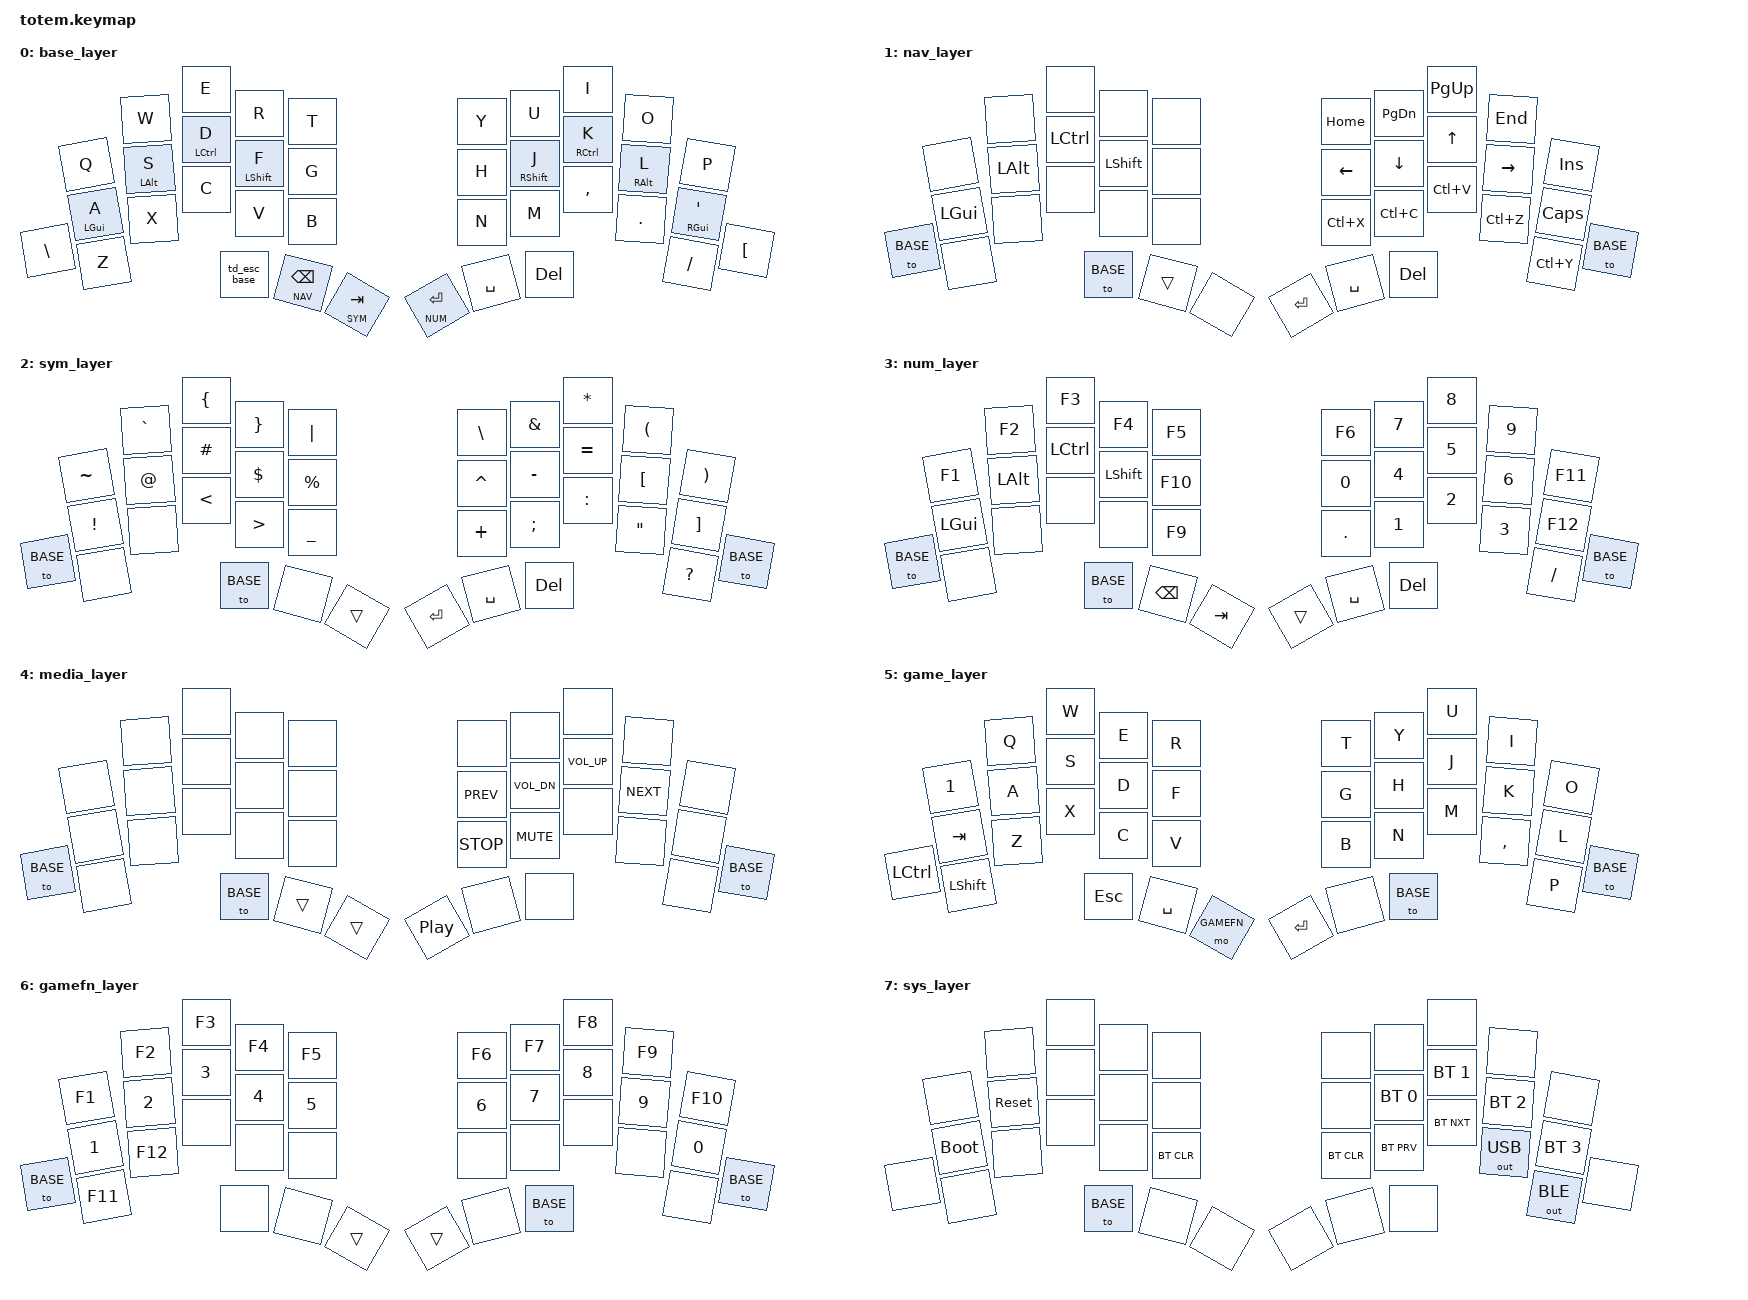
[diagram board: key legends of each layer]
// ╔══════════════════════════════════════════════════════════════════════════╗
// ║          TOTEM 38-KEY KEYMAP — LiquidMonkey Edition                     ║
// ╠══════════════════════════════════════════════════════════════════════════╣
// ║  LAYERS                                                                  ║
// ║  0  BASE    — QWERTY + Home Row Mods                                    ║
// ║  1  NAV     — Navigation + Editing (hold BSP thumb)                     ║
// ║  2  SYM     — Symbols (hold TAB thumb)                                  ║
// ║  3  NUM     — Numbers + F-keys (hold RET thumb)                         ║
// ║  4  MEDIA   — Media / Volume (tri-layer: NAV+SYM)                       ║
// ║  5  GAME    — Gaming base (sticky, WASD, no HRM)                        ║
// ║  6  GAMEFN  — Gaming function keys (momentary from GAME)                ║
// ║  7  SYS     — System / BT / Reset (hard to reach)                       ║
// ╠══════════════════════════════════════════════════════════════════════════╣
// ║  HOME ROW MODS (GACS — GUI, ALT, CTRL, SHIFT)                           ║
// ║  Left  : A=GUI  S=ALT  D=CTRL  F=SHIFT                                  ║
// ║  Right : J=SHIFT  K=CTRL  L=ALT  '=GUI                                  ║
// ╠══════════════════════════════════════════════════════════════════════════╣
// ║  PHYSICAL LAYOUT — 38 keys total                                        ║
// ║                                                                          ║
// ║  Binding order per layer (38 total):                                    ║
// ║    Row 1 (top)   :  10  —  5 left + 5 right                            ║
// ║    Row 2 (home)  :  10  —  5 left + 5 right                            ║
// ║    Row 3 (bottom):  12  —  [PK] 5 left + 5 right [PK]                  ║
// ║    Thumb         :   6  —  3 left + 3 right                             ║
// ║                                                                          ║
// ║  KEY POSITIONS:                                                          ║
// ║   0   1   2   3   4       5   6   7   8   9                             ║
// ║  10  11  12  13  14      15  16  17  18  19                             ║
// ║  20  21  22  23  24  25  26  27  28  29  30  31                         ║
// ║  ^                                           ^                           ║
// ║  extra pinky L                   extra pinky R                          ║
// ║              32  33  34      35  36  37                                  ║
// ║                                                                          ║
// ╠══════════════════════════════════════════════════════════════════════════╣
// ║                                                                          ║
// ║  ╭─────┬─────┬─────┬─────┬─────╮   ╭─────┬─────┬─────┬─────┬─────╮   ║
// ║  │  Q  │  W  │  E  │  R  │  T  │   │  Y  │  U  │  I  │  O  │  P  │   ║
// ║  ├─────┼─────┼─────┼─────┼─────┤   ├─────┼─────┼─────┼─────┼─────┤   ║
// ║  │GUI/A│ALT/S│CTL/D│SFT/F│  G  │   │  H  │SFT/J│CTL/K│ALT/L│GUI/'│   ║
// ║  ├──┬──┼─────┼─────┼─────┼─────┼───┼─────┼─────┼─────┼─────┼──┬──┤   ║
// ║  │PK│  │  Z  │  X  │  C  │  V  │ B │  N  │  M  │  ,  │  .  │  │PK│   ║
// ║  ╰──┴──┴─────┴──┬──┴──┬──┴──┬──╯   ╰──┬──┴──┬──┴──┬──┴─────┴──┴──╯   ║
// ║              │ESC│ BSP │ TAB │         │ENT  │ SPC │DEL│               ║
// ║              │   │(NAV)│(SYM)│         │(NUM)│     │   │               ║
// ║              ╰───┴─────┴─────╯         ╰─────┴─────┴───╯               ║
// ║                                                                          ║
// ╚══════════════════════════════════════════════════════════════════════════╝

#include <behaviors.dtsi>
#include <dt-bindings/zmk/keys.h>
#include <dt-bindings/zmk/bt.h>
#include <dt-bindings/zmk/outputs.h>

// ─── Layer indices ───────────────────────────────────────────────────────────
#define BASE    0
#define NAV     1
#define SYM     2
#define NUM     3
#define MEDIA   4
#define GAME    5
#define GAMEFN  6
#define SYS     7

// ─── Global hold-tap defaults ─────────────────────────────────────────────────
&mt {
    flavor = "balanced";
    tapping-term-ms = <280>;
    quick-tap-ms = <175>;
    require-prior-idle-ms = <150>;
};

&lt {
    flavor = "balanced";
    tapping-term-ms = <280>;
    quick-tap-ms = <175>;
    require-prior-idle-ms = <150>;
};

/ {
    // ─── Custom behaviors ─────────────────────────────────────────────────────

    behaviors {

        // Left-hand HRM — GUI (pinky), longer idle
        hml_gui: hrm_left_gui {
            compatible = "zmk,behavior-hold-tap";
            #binding-cells = <2>;
            flavor = "balanced";
            tapping-term-ms = <300>;
            quick-tap-ms = <175>;
            require-prior-idle-ms = <200>;
            bindings = <&kp>, <&kp>;
            hold-trigger-key-positions = <
                5  6  7  8  9        // right top row
                15 16 17 18 19       // right home row
                26 27 28 29 30 31    // right bottom row + right extra pinky
                35 36 37             // right thumb
            >;
            hold-trigger-on-release;
        };

        // Right-hand HRM — GUI (pinky), longer idle
        hmr_gui: hrm_right_gui {
            compatible = "zmk,behavior-hold-tap";
            #binding-cells = <2>;
            flavor = "balanced";
            tapping-term-ms = <300>;
            quick-tap-ms = <175>;
            require-prior-idle-ms = <200>;
            bindings = <&kp>, <&kp>;
            hold-trigger-key-positions = <
                0  1  2  3  4        // left top row
                10 11 12 13 14       // left home row
                20 21 22 23 24 25    // left bottom row + left extra pinky
                32 33 34             // left thumb
            >;
            hold-trigger-on-release;
        };

        // Left-hand HRM — ALT, CTRL, SHIFT
        hml: hrm_left {
            compatible = "zmk,behavior-hold-tap";
            #binding-cells = <2>;
            flavor = "balanced";
            tapping-term-ms = <280>;
            quick-tap-ms = <175>;
            require-prior-idle-ms = <150>;
            bindings = <&kp>, <&kp>;
            hold-trigger-key-positions = <
                5  6  7  8  9
                15 16 17 18 19
                26 27 28 29 30 31
                35 36 37
            >;
            hold-trigger-on-release;
        };

        // Right-hand HRM — ALT, CTRL, SHIFT
        hmr: hrm_right {
            compatible = "zmk,behavior-hold-tap";
            #binding-cells = <2>;
            flavor = "balanced";
            tapping-term-ms = <280>;
            quick-tap-ms = <175>;
            require-prior-idle-ms = <150>;
            bindings = <&kp>, <&kp>;
            hold-trigger-key-positions = <
                0  1  2  3  4
                10 11 12 13 14
                20 21 22 23 24 25
                32 33 34
            >;
            hold-trigger-on-release;
        };

        // Tap-dance: tap = ESC, double-tap = to BASE
        td_esc_base: tap_dance_esc_base {
            compatible = "zmk,behavior-tap-dance";
            #binding-cells = <0>;
            tapping-term-ms = <200>;
            bindings = <&kp ESC>, <&to BASE>;
        };
    };

    // ─── Tri-layer: NAV + SYM → MEDIA ────────────────────────────────────────
    conditional_layers {
        compatible = "zmk,conditional-layers";
        media_layer {
            if-layers = <NAV SYM>;
            then-layer = <MEDIA>;
        };
    };

    // ─── Combos ───────────────────────────────────────────────────────────────
    // Positions:
    //       0   1   2   3   4       5   6   7   8   9
    //      10  11  12  13  14      15  16  17  18  19
    //  20  21  22  23  24  25      26  27  28  29  30  31
    //              32  33  34      35  36  37

    combos {
        compatible = "zmk,combos";

        // Caps Word — both index home-row keys (F + J)
        combo_caps_word {
            timeout-ms = <50>;
            key-positions = <13 16>;
            bindings = <&caps_word>;
        };

        // Universal BASE escape — both inner thumb keys (TAB + ENT)
        combo_to_base {
            timeout-ms = <60>;
            key-positions = <34 35>;
            bindings = <&to BASE>;
        };

        // Gaming layer toggle — both extra pinky keys (one per hand)
        combo_game_toggle {
            timeout-ms = <60>;
            key-positions = <20 31>;
            bindings = <&tog GAME>;
        };

        // SYS layer — Z + / (bottom row inner pinkies, hold both)
        // Hard to hit accidentally; much harder than a single key
        combo_sys {
            timeout-ms = <50>;
            key-positions = <21 30>;
            bindings = <&mo SYS>;
        };
    };

    keymap {
        compatible = "zmk,keymap";

// ╔══════════════════════════════════════════════════════════════════════════╗
// ║  LAYER 0 — BASE (QWERTY + Home Row Mods)                                ║
// ╠══════════════════════════════════════════════════════════════════════════╣
// ║                                                                          ║
// ║  ╭─────┬─────┬─────┬─────┬─────╮   ╭─────┬─────┬─────┬─────┬─────╮   ║
// ║  │  Q  │  W  │  E  │  R  │  T  │   │  Y  │  U  │  I  │  O  │  P  │   ║
// ║  ├─────┼─────┼─────┼─────┼─────┤   ├─────┼─────┼─────┼─────┼─────┤   ║
// ║  │GUI/A│ALT/S│CTL/D│SFT/F│  G  │   │  H  │SFT/J│CTL/K│ALT/L│GUI/'│   ║
// ║  ├─────┼─────┼─────┼─────┼─────┼───┼─────┼─────┼─────┼─────┼─────┤   ║
// ║  │ \ │  Z  │  X  │  C  │  V  │  B  │  N  │  M  │  ,  │  .  │  /  │ [ │  ║
// ║  ╰─────┴─────┴──┬──┴──┬──┴──┬──╯   ╰──┬──┴──┬──┴──┬──┴─────┴─────╯   ║
// ║              │ESC│ BSP │ TAB │         │ ENT │ SPC │DEL│               ║
// ║              │   │(NAV)│(SYM)│         │(NUM)│     │   │               ║
// ║              ╰───┴─────┴─────╯         ╰─────┴─────┴───╯               ║
// ║                                                                          ║
// ║  Left extra pinky  : \ (backslash — completes symbol set)               ║
// ║  Right extra pinky : [ (left bracket — pairs naturally with ] on SYM)   ║
// ╚══════════════════════════════════════════════════════════════════════════╝

        base_layer {
            bindings = <
                &kp Q            &kp W          &kp E          &kp R          &kp T              &kp Y          &kp U          &kp I          &kp O          &kp P
                &hml_gui LGUI A  &hml LALT S    &hml LCTRL D   &hml LSHFT F   &kp G              &kp H          &hmr RSHFT J   &hmr RCTRL K   &hmr RALT L    &hmr_gui RGUI SQT
   &kp BSLH     &kp Z            &kp X          &kp C          &kp V          &kp B              &kp N          &kp M          &kp COMMA      &kp DOT        &kp FSLH       &kp LBKT
                                                &td_esc_base   &lt NAV BSPC   &lt SYM TAB        &lt NUM RET    &kp SPC        &kp DEL
            >;
        };

// ╔══════════════════════════════════════════════════════════════════════════╗
// ║  LAYER 1 — NAV (Navigation + Editing)                                   ║
// ║  Hold left BSP thumb                                                     ║
// ╠══════════════════════════════════════════════════════════════════════════╣
// ║                                                                          ║
// ║  ╭─────┬─────┬─────┬─────┬─────╮   ╭─────┬─────┬─────┬─────┬─────╮   ║
// ║  │     │     │     │     │     │   │HOME │PGDN │PGUP │ END │ INS │   ║
// ║  ├─────┼─────┼─────┼─────┼─────┤   ├─────┼─────┼─────┼─────┼─────┤   ║
// ║  │ GUI │ ALT │ CTL │ SFT │     │   │  ←  │  ↓  │  ↑  │  →  │CAPS │   ║
// ║  ├─────┼─────┼─────┼─────┼─────┼───┼─────┼─────┼─────┼─────┼─────┤   ║
// ║  │BASE │     │     │     │     │     │ CUT │COPY │PSTE │UNDO │REDO │BASE│  ║
// ║  ╰─────┴─────┴──┬──┴──┬──┴──┬──╯   ╰──┬──┴──┬──┴──┬──┴─────┴─────╯   ║
// ║              │BASE│[hld]│     │         │ ENT │ SPC │DEL│               ║
// ║              ╰───┴─────┴─────╯         ╰─────┴─────┴───╯               ║
// ╚══════════════════════════════════════════════════════════════════════════╝

        nav_layer {
            bindings = <
                &none          &none          &none          &none          &none              &kp HOME       &kp PG_DN      &kp PG_UP      &kp END        &kp INS
                &kp LGUI       &kp LALT       &kp LCTRL      &kp LSHFT      &none              &kp LEFT       &kp DOWN       &kp UP         &kp RIGHT      &kp CAPS
   &to BASE     &none          &none          &none          &none          &none              &kp LC(X)      &kp LC(C)      &kp LC(V)      &kp LC(Z)      &kp LC(Y)      &to BASE
                                              &to BASE       &trans         &none              &kp RET        &kp SPC        &kp DEL
            >;
        };

// ╔══════════════════════════════════════════════════════════════════════════╗
// ║  LAYER 2 — SYM (Symbols)                                                ║
// ║  Hold right TAB thumb                                                    ║
// ╠══════════════════════════════════════════════════════════════════════════╣
// ║                                                                          ║
// ║  ╭─────┬─────┬─────┬─────┬─────╮   ╭─────┬─────┬─────┬─────┬─────╮   ║
// ║  │  ~  │  `  │  {  │  }  │  |  │   │  \  │  &  │  *  │  (  │  )  │   ║
// ║  ├─────┼─────┼─────┼─────┼─────┤   ├─────┼─────┼─────┼─────┼─────┤   ║
// ║  │  !  │  @  │  #  │  $  │  %  │   │  ^  │  -  │  =  │  [  │  ]  │   ║
// ║  ├─────┼─────┼─────┼─────┼─────┼───┼─────┼─────┼─────┼─────┼─────┤   ║
// ║  │BASE │     │     │  <  │  >  │  _  │  +  │  ;  │  :  │  "  │  ?  │BASE│ ║
// ║  ╰─────┴─────┴──┬──┴──┬──┴──┬──╯   ╰──┬──┴──┬──┴──┬──┴─────┴─────╯   ║
// ║              │BASE│     │[hld]│         │ ENT │ SPC │DEL│               ║
// ║              ╰───┴─────┴─────╯         ╰─────┴─────┴───╯               ║
// ╚══════════════════════════════════════════════════════════════════════════╝

        sym_layer {
            bindings = <
                &kp TILDE      &kp GRAVE      &kp LBRC       &kp RBRC       &kp PIPE           &kp BSLH       &kp AMPS       &kp STAR       &kp LPAR       &kp RPAR
                &kp EXCL       &kp AT         &kp HASH       &kp DLLR       &kp PRCNT          &kp CARET      &kp MINUS      &kp EQUAL      &kp LBKT       &kp RBKT
   &to BASE     &none          &none          &kp LT         &kp GT         &kp UNDER          &kp PLUS       &kp SEMI       &kp COLON      &kp DQT        &kp QMARK      &to BASE
                                              &to BASE       &none          &trans             &kp RET        &kp SPC        &kp DEL
            >;
        };

// ╔══════════════════════════════════════════════════════════════════════════╗
// ║  LAYER 3 — NUM (Numbers + F-keys)                                       ║
// ║  Hold right RET thumb                                                    ║
// ╠══════════════════════════════════════════════════════════════════════════╣
// ║                                                                          ║
// ║  ╭─────┬─────┬─────┬─────┬─────╮   ╭─────┬─────┬─────┬─────┬─────╮   ║
// ║  │ F1  │ F2  │ F3  │ F4  │ F5  │   │ F6  │  7  │  8  │  9  │F11  │   ║
// ║  ├─────┼─────┼─────┼─────┼─────┤   ├─────┼─────┼─────┼─────┼─────┤   ║
// ║  │ GUI │ ALT │ CTL │ SFT │F10  │   │  0  │  4  │  5  │  6  │F12  │   ║
// ║  ├─────┼─────┼─────┼─────┼─────┼───┼─────┼─────┼─────┼─────┼─────┤   ║
// ║  │BASE │     │     │     │     │ F9  │  .  │  1  │  2  │  3  │  /  │BASE│ ║
// ║  ╰─────┴─────┴──┬──┴──┬──┴──┬──╯   ╰──┬──┴──┬──┴──┬──┴─────┴─────╯   ║
// ║              │BASE│ BSP │ TAB │         │[hld]│ SPC │DEL│               ║
// ║              ╰───┴─────┴─────╯         ╰─────┴─────┴───╯               ║
// ║                                                                          ║
// ║  Numpad on right hand; F-keys on left; mods on left home row            ║
// ╚══════════════════════════════════════════════════════════════════════════╝

        num_layer {
            bindings = <
                &kp F1         &kp F2         &kp F3         &kp F4         &kp F5             &kp F6         &kp N7         &kp N8         &kp N9         &kp F11
                &kp LGUI       &kp LALT       &kp LCTRL      &kp LSHFT      &kp F10            &kp N0         &kp N4         &kp N5         &kp N6         &kp F12
   &to BASE     &none          &none          &none          &none          &kp F9             &kp DOT        &kp N1         &kp N2         &kp N3         &kp FSLH       &to BASE
                                              &to BASE       &kp BSPC       &kp TAB            &trans         &kp SPC        &kp DEL
            >;
        };

// ╔══════════════════════════════════════════════════════════════════════════╗
// ║  LAYER 4 — MEDIA (hold NAV + SYM simultaneously)                        ║
// ╠══════════════════════════════════════════════════════════════════════════╣
// ║                                                                          ║
// ║  ╭─────┬─────┬─────┬─────┬─────╮   ╭─────┬─────┬─────┬─────┬─────╮   ║
// ║  │     │     │     │     │     │   │     │     │     │     │     │   ║
// ║  ├─────┼─────┼─────┼─────┼─────┤   ├─────┼─────┼─────┼─────┼─────┤   ║
// ║  │     │     │     │     │     │   │PREV │VOL- │VOL+ │NEXT │     │   ║
// ║  ├─────┼─────┼─────┼─────┼─────┼───┼─────┼─────┼─────┼─────┼─────┤   ║
// ║  │BASE │     │     │     │     │     │STOP │MUTE │     │     │     │BASE│ ║
// ║  ╰─────┴─────┴──┬──┴──┬──┴──┬──╯   ╰──┬──┴──┬──┴──┬──┴─────┴─────╯   ║
// ║              │BASE│[hld]│[hld]│         │PLAY │     │   │               ║
// ║              ╰───┴─────┴─────╯         ╰─────┴─────┴───╯               ║
// ╚══════════════════════════════════════════════════════════════════════════╝

        media_layer {
            bindings = <
                &none          &none          &none          &none          &none              &none          &none          &none          &none          &none
                &none          &none          &none          &none          &none              &kp C_PREV     &kp C_VOL_DN   &kp C_VOL_UP   &kp C_NEXT     &none
   &to BASE     &none          &none          &none          &none          &none              &kp C_STOP     &kp C_MUTE     &none          &none          &none          &to BASE
                                              &to BASE       &trans         &trans             &kp C_PP       &none          &none
            >;
        };

// ╔══════════════════════════════════════════════════════════════════════════╗
// ║  LAYER 5 — GAME (Gaming, sticky / toggled)                              ║
// ║  Toggle via: combo extra-pinky-L + extra-pinky-R                        ║
// ║  Stays until EXIT (right side) pressed                                  ║
// ╠══════════════════════════════════════════════════════════════════════════╣
// ║                                                                          ║
// ║  ╭─────┬─────┬─────┬─────┬─────╮   ╭─────┬─────┬─────┬─────┬─────╮   ║
// ║  │  1  │  Q  │  W  │  E  │  R  │   │  T  │  Y  │  U  │  I  │  O  │   ║
// ║  ├─────┼─────┼─────┼─────┼─────┤   ├─────┼─────┼─────┼─────┼─────┤   ║
// ║  │ TAB │  A  │  S  │  D  │  F  │   │  G  │  H  │  J  │  K  │  L  │   ║
// ║  ├─────┼─────┼─────┼─────┼─────┼───┼─────┼─────┼─────┼─────┼─────┤   ║
// ║  │ CTL │ SFT │  Z  │  X  │  C  │  V  │  B  │  N  │  M  │  ,  │  P  │EXIT│ ║
// ║  ╰─────┴─────┴──┬──┴──┬──┴──┬──╯   ╰──┬──┴──┬──┴──┬──┴─────┴─────╯   ║
// ║              │ESC│ SPC │GFUN │         │ ENT │     │EXIT│               ║
// ║              ╰───┴─────┴─────╯         ╰─────┴─────┴────╯               ║
// ║                                                                          ║
// ║  No HRM — direct modifiers on left pinky keys and thumb                 ║
// ║  Number row on top via thumb-hold (GAMEFN layer)                        ║
// ║  EXIT = &to BASE — on right extra pinky and right DEL thumb             ║
// ╚══════════════════════════════════════════════════════════════════════════╝

        game_layer {
            bindings = <
                &kp N1         &kp Q          &kp W          &kp E          &kp R              &kp T          &kp Y          &kp U          &kp I          &kp O
                &kp TAB        &kp A          &kp S          &kp D          &kp F              &kp G          &kp H          &kp J          &kp K          &kp L
   &kp LCTRL    &kp LSHFT      &kp Z          &kp X          &kp C          &kp V              &kp B          &kp N          &kp M          &kp COMMA      &kp P          &to BASE
                                              &kp ESC        &kp SPC        &mo GAMEFN         &kp RET        &none          &to BASE
            >;
        };

// ╔══════════════════════════════════════════════════════════════════════════╗
// ║  LAYER 6 — GAMEFN (Gaming numbers + F-keys, momentary from GAME)        ║
// ╠══════════════════════════════════════════════════════════════════════════╣
// ║                                                                          ║
// ║  ╭─────┬─────┬─────┬─────┬─────╮   ╭─────┬─────┬─────┬─────┬─────╮   ║
// ║  │ F1  │ F2  │ F3  │ F4  │ F5  │   │ F6  │ F7  │ F8  │ F9  │F10  │   ║
// ║  ├─────┼─────┼─────┼─────┼─────┤   ├─────┼─────┼─────┼─────┼─────┤   ║
// ║  │  1  │  2  │  3  │  4  │  5  │   │  6  │  7  │  8  │  9  │  0  │   ║
// ║  ├─────┼─────┼─────┼─────┼─────┼───┼─────┼─────┼─────┼─────┼─────┤   ║
// ║  │EXIT │F11  │F12  │     │     │     │     │     │     │     │     │EXIT│ ║
// ║  ╰─────┴─────┴──┬──┴──┬──┴──┬──╯   ╰──┬──┴──┬──┴──┬──┴─────┴─────╯   ║
// ║              │   │     │[hld]│         │[hld]│     │EXIT│               ║
// ║              ╰───┴─────┴─────╯         ╰─────┴─────┴────╯               ║
// ╚══════════════════════════════════════════════════════════════════════════╝

        gamefn_layer {
            bindings = <
                &kp F1         &kp F2         &kp F3         &kp F4         &kp F5             &kp F6         &kp F7         &kp F8         &kp F9         &kp F10
                &kp N1         &kp N2         &kp N3         &kp N4         &kp N5             &kp N6         &kp N7         &kp N8         &kp N9         &kp N0
   &to BASE     &kp F11        &kp F12        &none          &none          &none              &none          &none          &none          &none          &none          &to BASE
                                              &none          &none          &trans             &trans         &none          &to BASE
            >;
        };

// ╔══════════════════════════════════════════════════════════════════════════╗
// ║  LAYER 7 — SYS (System / Bluetooth / Reset)                              ║
// ║  Combo: Z + / (both bottom-row inner pinky keys, one per hand)           ║
// ╠══════════════════════════════════════════════════════════════════════════╣
// ║                                                                          ║
// ║  ╭─────┬─────┬─────┬─────┬─────╮   ╭─────┬─────┬─────┬─────┬─────╮       ║
// ║  │     │     │     │     │     │   │     │     │     │     │     │       ║
// ║  ├─────┼─────┼─────┼─────┼─────┤   ├─────┼─────┼─────┼─────┼─────┤       ║
// ║  │BOOT │RST  │     │     │     │   │     │BT0  │BT1  │BT2  │BT3  │       ║
// ║  ├─────┼─────┼─────┼─────┼─────┼───┼─────┼─────┼─────┼─────┼─────┤─────╮ ║
// ║  │     │     │     │     │     │   |BTCLR│BTCLR│BT←  │BT→  │USB  │BLE  │ ║
// ║  ╰─────┴──┬──┴──┬──┴──┬──┴──┬──╯   ╰──┬──┴──┬──┴──┬──┴─┬───┴─────┴─────╯ ║
// ║           │BASE │     │     │         │     │     │    │                 ║
// ║           ╰─────┴─────┴─────╯         ╰─────┴─────┴────╯                 ║
// ║                                                                          ║
// ║  BT0-3: select profile  |  BT←/→: prev/next  |  BTCLR: clear current     ║
// ║  BOOT: bootloader  |  RST: soft reset  |  USB/BLE: output toggle         ║
// ╚══════════════════════════════════════════════════════════════════════════╝

        sys_layer {
            bindings = <
                &none          &none          &none          &none          &none              &none          &none          &none          &none          &none
                &bootloader    &sys_reset     &none          &none          &none              &none          &bt BT_SEL 0   &bt BT_SEL 1   &bt BT_SEL 2   &bt BT_SEL 3
   &none        &none          &none          &none          &none          &bt BT_CLR         &bt BT_CLR     &bt BT_PRV     &bt BT_NXT     &out OUT_USB   &out OUT_BLE   &none
                                              &to BASE       &none          &none              &none          &none          &none
            >;
        };

    };
};
